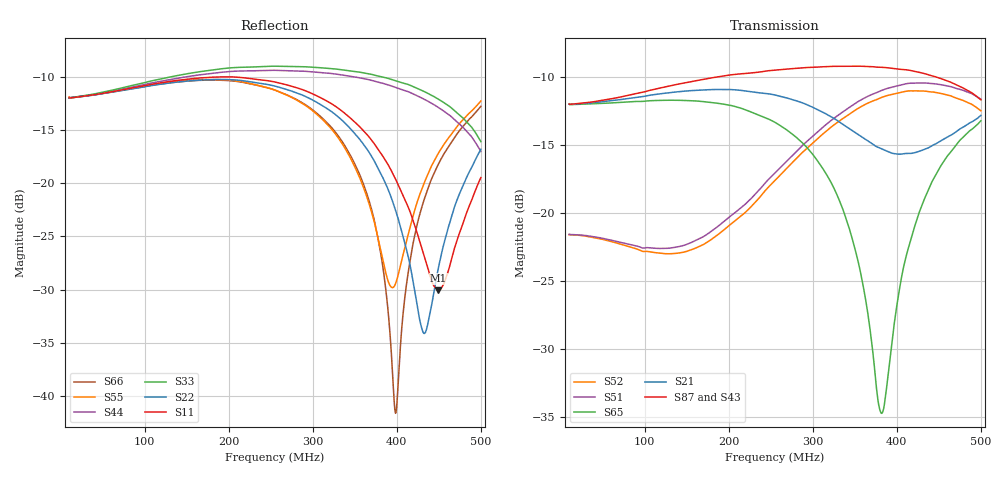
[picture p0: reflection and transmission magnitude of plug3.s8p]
!Agilent Technologies,M9370A,MY54322275,A.02.50.04
!Agilent M9370A: A.02.50.04
!Date: Friday, August 17, 2018 12:58:08
!Correction: S11(Full 8 Port(1,2,3,4,5,6,7,8))
!S12(Full 8 Port(1,2,3,4,5,6,7,8))
!S13(Full 8 Port(1,2,3,4,5,6,7,8))
!S14(Full 8 Port(1,2,3,4,5,6,7,8))
!S15(Full 8 Port(1,2,3,4,5,6,7,8))
!S16(Full 8 Port(1,2,3,4,5,6,7,8))
!S17(Full 8 Port(1,2,3,4,5,6,7,8))
!S18(Full 8 Port(1,2,3,4,5,6,7,8))
!S21(Full 8 Port(1,2,3,4,5,6,7,8))
!S22(Full 8 Port(1,2,3,4,5,6,7,8))
!S23(Full 8 Port(1,2,3,4,5,6,7,8))
!S24(Full 8 Port(1,2,3,4,5,6,7,8))
!S25(Full 8 Port(1,2,3,4,5,6,7,8))
!S26(Full 8 Port(1,2,3,4,5,6,7,8))
!S27(Full 8 Port(1,2,3,4,5,6,7,8))
!S28(Full 8 Port(1,2,3,4,5,6,7,8))
!S31(Full 8 Port(1,2,3,4,5,6,7,8))
!S32(Full 8 Port(1,2,3,4,5,6,7,8))
!S33(Full 8 Port(1,2,3,4,5,6,7,8))
!S34(Full 8 Port(1,2,3,4,5,6,7,8))
!S35(Full 8 Port(1,2,3,4,5,6,7,8))
!S36(Full 8 Port(1,2,3,4,5,6,7,8))
!S37(Full 8 Port(1,2,3,4,5,6,7,8))
!S38(Full 8 Port(1,2,3,4,5,6,7,8))
!S41(Full 8 Port(1,2,3,4,5,6,7,8))
!S42(Full 8 Port(1,2,3,4,5,6,7,8))
!S43(Full 8 Port(1,2,3,4,5,6,7,8))
!S44(Full 8 Port(1,2,3,4,5,6,7,8))
!S45(Full 8 Port(1,2,3,4,5,6,7,8))
!S46(Full 8 Port(1,2,3,4,5,6,7,8))
!S47(Full 8 Port(1,2,3,4,5,6,7,8))
!S48(Full 8 Port(1,2,3,4,5,6,7,8))
!S51(Full 8 Port(1,2,3,4,5,6,7,8))
!S52(Full 8 Port(1,2,3,4,5,6,7,8))
!S53(Full 8 Port(1,2,3,4,5,6,7,8))
!S54(Full 8 Port(1,2,3,4,5,6,7,8))
!S55(Full 8 Port(1,2,3,4,5,6,7,8))
!S56(Full 8 Port(1,2,3,4,5,6,7,8))
!S57(Full 8 Port(1,2,3,4,5,6,7,8))
!S58(Full 8 Port(1,2,3,4,5,6,7,8))
!S61(Full 8 Port(1,2,3,4,5,6,7,8))
!S62(Full 8 Port(1,2,3,4,5,6,7,8))
!S63(Full 8 Port(1,2,3,4,5,6,7,8))
!S64(Full 8 Port(1,2,3,4,5,6,7,8))
!S65(Full 8 Port(1,2,3,4,5,6,7,8))
!S66(Full 8 Port(1,2,3,4,5,6,7,8))
!S67(Full 8 Port(1,2,3,4,5,6,7,8))
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# Hz S  RI  R 50
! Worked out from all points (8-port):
!   1000 points, 10 MHz to 500 MHz, reference 50 ohm
!   strongest paths, dB at 10 MHz, 132.6 MHz, 255.2 MHz, 377.9 MHz, 500 MHz:
!     S87: -12.0, -10.6, -9.5, -9.3, -11.7
!     S43: -12.0, -10.7, -9.7, -9.5, -12.0
!     S21: -12.0, -11.2, -11.4, -15.2, -12.9
!     S65: -12.0, -11.7, -13.4, -33.9, -13.3
!     S51: -21.6, -22.6, -17.1, -11.1, -11.7
!     S52: -21.6, -23.0, -17.6, -11.6, -12.5
!   lowest |S11| = -30.1 dB at 449.5 MHz (marker M1), VSWR 1.06, Z = 47.1 - j0.843 ohm
!   |S11| at or under -10 dB: start of sweep to 185.6 MHz; 207.3 MHz to end of sweep
